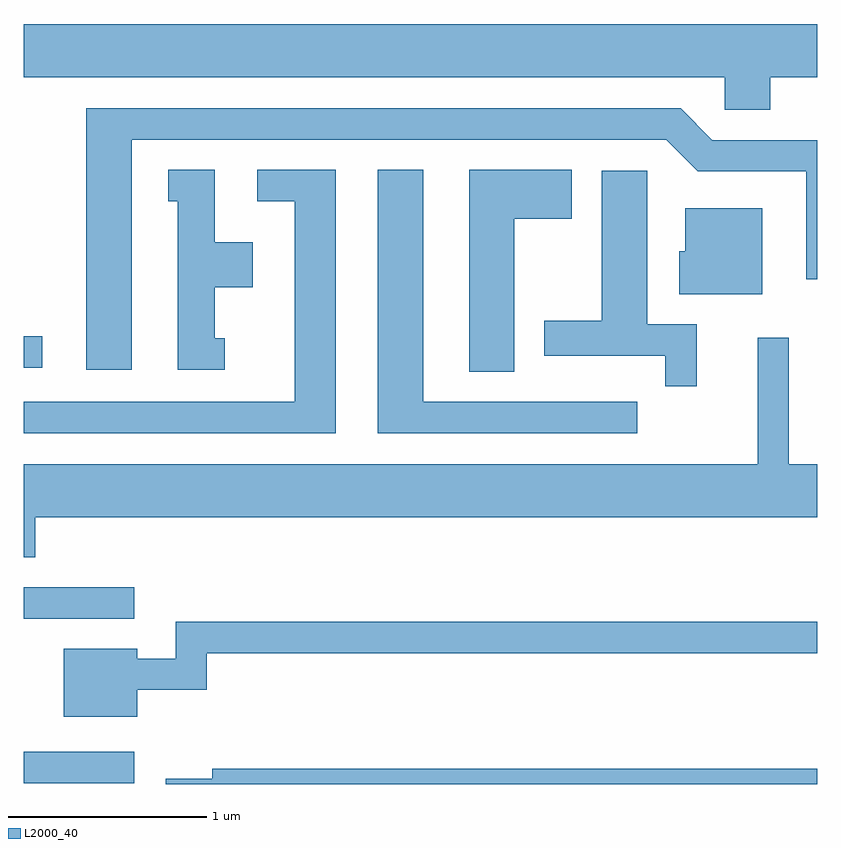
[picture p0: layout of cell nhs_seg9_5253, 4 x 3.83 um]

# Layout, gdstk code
import gdstk
lib = gdstk.Library(unit=1e-6, precision=1e-09)
def R(c, l, rs):  # rectangles x0, y0, x1, y1
    for r in rs: c.add(gdstk.rectangle(r[:2], r[2:], *l))
def P(c, l, *ps):  # polygons
    for p in ps: c.add(gdstk.Polygon(p, *l))
L2000_40 = (2000, 40)

nhs_seg9_5253 = lib.new_cell('nhs_seg9_5253')
R(nhs_seg9_5253, L2000_40, [(339.611,2030.436,340.168,2030.594), (339.611,2031.266,340.168,2031.424), (339.611,2032.531,339.703,2032.689)])
P(nhs_seg9_5253, L2000_40, [(343.374,2033.996),(343.611,2033.996),(343.611,2034.264),(339.611,2034.264),(339.611,2033.996),(343.146,2033.996),(343.146,2033.831),(343.374,2033.831)],
  [(340.154,2033.681),(342.849,2033.681),(343.009,2033.521),(343.556,2033.521),(343.556,2032.978),(343.611,2032.978),(343.611,2033.679),(343.082,2033.679),(342.922,2033.839),(339.926,2033.839),(339.926,2032.521),(340.154,2032.521)],
  [(340.623,2032.679),(340.574,2032.679),(340.574,2032.936),(340.764,2032.936),(340.764,2033.164),(340.574,2033.164),(340.574,2033.529),(340.338,2033.529),(340.338,2033.371),(340.386,2033.371),(340.386,2032.521),(340.623,2032.521)],
  [(341.184,2033.529),(340.788,2033.529),(340.788,2033.371),(340.976,2033.371),(340.976,2032.359),(339.611,2032.359),(339.611,2032.201),(341.184,2032.201)],
  [(342.703,2032.359),(341.624,2032.359),(341.624,2033.529),(341.396,2033.529),(341.396,2032.201),(342.703,2032.201)],
  [(342.084,2033.281),(342.374,2033.281),(342.374,2033.529),(341.856,2033.529),(341.856,2032.511),(342.084,2032.511)],
  [(343.004,2032.749),(342.754,2032.749),(342.754,2033.524),(342.526,2033.524),(342.526,2032.769),(342.236,2032.769),(342.236,2032.591),(342.846,2032.591),(342.846,2032.438),(343.004,2032.438)],
  [(343.334,2033.334),(342.946,2033.334),(342.946,2033.119),(342.916,2033.119),(342.916,2032.901),(343.334,2032.901)],
  [(339.669,2031.776),(343.611,2031.776),(343.611,2032.044),(343.469,2032.044),(343.469,2032.683),(343.311,2032.683),(343.311,2032.044),(339.611,2032.044),(339.611,2031.576),(339.669,2031.576)],
  [(340.184,2030.906),(340.534,2030.906),(340.534,2031.091),(343.611,2031.091),(343.611,2031.249),(340.376,2031.249),(340.376,2031.064),(340.184,2031.064),(340.184,2031.114),(339.811,2031.114),(339.811,2030.771),(340.184,2030.771)],
  [(343.611,2030.509),(340.561,2030.509),(340.561,2030.459),(340.326,2030.459),(340.326,2030.432),(343.611,2030.432)])

lib.write_gds('nhs_seg9_5253.gds')
